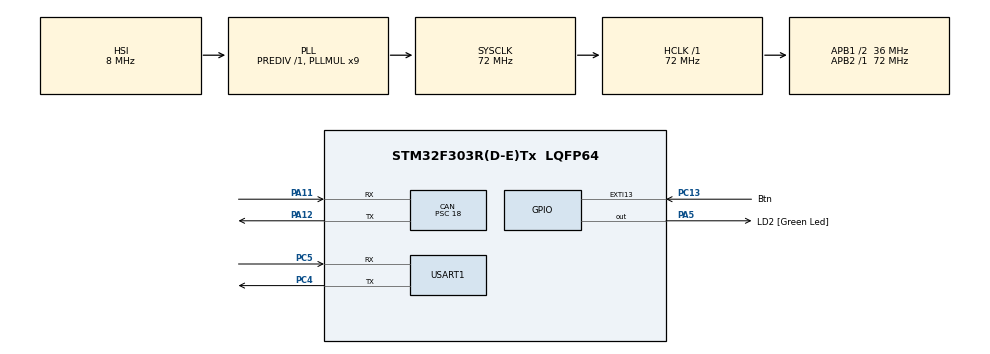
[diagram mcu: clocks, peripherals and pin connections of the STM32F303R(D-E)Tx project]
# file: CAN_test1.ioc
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CAN.BS1=CAN_BS1_2TQ
CAN.CalculateBaudRate=500000
CAN.CalculateTimeBit=2000
CAN.CalculateTimeQuantum=500.0
CAN.Mode=CAN_MODE_NORMAL
CAN.Prescaler=18
Mcu.Family=STM32F3
Mcu.Name=STM32F303R(D-E)Tx
Mcu.Package=LQFP64
NVIC.CAN_RX1_IRQn=true\:0\:0\:false\:false\:true\:true\:true
NVIC.EXTI15_10_IRQn=true\:0\:0\:false\:false\:true\:true\:true
NVIC.PriorityGroup=NVIC_PRIORITYGROUP_0
NVIC.USB_LP_CAN_RX0_IRQn=true\:0\:0\:false\:false\:true\:true\:true
PA11.Mode=CAN_Activate
PA11.Signal=CAN_RX
PA12.Mode=CAN_Activate
PA12.Signal=CAN_TX
PA13.GPIO_Label=TMS
PA13.Mode=Serial_Wire
PA13.Signal=SYS_JTMS-SWDIO
PA14.GPIO_Label=TCK
PA14.Mode=Serial_Wire
PA14.Signal=SYS_JTCK-SWCLK
PA2.GPIO_Label=USART_TX
PA2.GPIO_Mode=GPIO_MODE_AF_PP
PA2.GPIO_PuPd=GPIO_NOPULL
PA2.GPIO_Speed=GPIO_SPEED_FREQ_LOW
PA2.Signal=USART2_TX
PA3.GPIO_Label=USART_RX
PA3.GPIO_Mode=GPIO_MODE_AF_PP
PA3.GPIO_PuPd=GPIO_NOPULL
PA3.GPIO_Speed=GPIO_SPEED_FREQ_LOW
PA3.Signal=USART2_RX
PA5.GPIO_Label=LD2 [Green Led]
PA5.GPIO_Mode=GPIO_MODE_OUTPUT_PP
PA5.GPIO_PuPd=GPIO_NOPULL
PA5.GPIO_Speed=GPIO_SPEED_FREQ_LOW
PA5.Signal=GPIO_Output
PB3.GPIO_Label=SWO
PB3.Signal=SYS_JTDO-TRACESWO
PC13.GPIO_Label=Btn
PC13.GPIO_ModeDefaultEXTI=GPIO_MODE_IT_FALLING
PC13.Signal=GPXTI13
PC14-OSC32_IN.Mode=LSE-External-Oscillator
PC14-OSC32_IN.Signal=RCC_OSC32_IN
PC15-OSC32_OUT.Mode=LSE-External-Oscillator
PC15-OSC32_OUT.Signal=RCC_OSC32_OUT
PC4.Mode=Asynchronous
PC4.Signal=USART1_TX
PC5.Mode=Asynchronous
PC5.Signal=USART1_RX
PF0-OSC_IN.Mode=HSE-External-Clock-Source
PF0-OSC_IN.Signal=RCC_OSC_IN
PF1-OSC_OUT.Signal=RCC_OSC_OUT
ProjectManager.HeapSize=0x200
ProjectManager.StackSize=0x400
ProjectManager.TargetToolchain=STM32CubeIDE
RCC.AHBFreq_Value=72000000
RCC.APB1CLKDivider=RCC_HCLK_DIV2
RCC.APB1Freq_Value=36000000
RCC.APB1TimFreq_Value=72000000
RCC.APB2Freq_Value=72000000
RCC.APB2TimFreq_Value=72000000
RCC.CortexFreq_Value=72000000
RCC.HCLKFreq_Value=72000000
RCC.HSE_VALUE=8000000
RCC.HSI_VALUE=8000000
RCC.PLLM=8
RCC.PLLMUL=RCC_PLL_MUL9
RCC.PLLN=336
RCC.PLLP=RCC_PLLP_DIV4
RCC.PLLQ=7
RCC.RCC_PLLsource_Clock_Source_FROM_HSE=RCC_HSE_PREDIV_DIV2
RCC.SYSCLKFreq_VALUE=72000000
RCC.SYSCLKSourceVirtual=RCC_SYSCLKSOURCE_PLLCLK
RCC.USBFreq_Value=72000000
USART1.VirtualMode-Asynchronous=VM_ASYNC
board=NUCLEO-F303RE

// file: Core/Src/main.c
/* USER CODE BEGIN Header */
/**
  ******************************************************************************
  * @file           : main.c
  * @brief          : Main program body
  ******************************************************************************
  * @attention
  *
  * Copyright (c) 2022 STMicroelectronics.
  * All rights reserved.
  *
  * This software is licensed under terms that can be found in the LICENSE file
  * in the root directory of this software component.
  * If no LICENSE file comes with this software, it is provided AS-IS.
  *
  ******************************************************************************
  */
/* USER CODE END Header */
#include "main.h"
#include "can.h"
#include "usart.h"
#include "gpio.h"

/* USER CODE BEGIN PTD */

typedef enum
{
	WAKEUP,
	START,
	LOCK,
	REQUEST
} StateMessage;

/* USER CODE END PTD */

void SystemClock_Config(void);

/* USER CODE BEGIN PFP */

void SendControlMessage(StateMessage state);

/* USER CODE END PFP */

/* USER CODE BEGIN 0 */
CAN_TxHeaderTypeDef TxHeader;
CAN_RxHeaderTypeDef RxHeader;

uint8_t TxData[8];
uint8_t RxData[8];

uint32_t TxMailbox[4];

uint8_t count = 0;

char rcvData[1024];

void HAL_CAN_RxFifo0MsgPendingCallback(CAN_HandleTypeDef *hcan)
{
	HAL_CAN_GetRxMessage(hcan, CAN_RX_FIFO0, &RxHeader, RxData);

    strcat(rcvData, RxData);

	HAL_GPIO_TogglePin(LD2_GPIO_Port, LD2_Pin);
}

/* USER CODE END 0 */

int main(void)
{

  /* MCU Configuration--------------------------------------------------------*/

  /* Reset of all peripherals, Initializes the Flash interface and the Systick. */
  HAL_Init();

  /* Configure the system clock */
  SystemClock_Config();

  /* Initialize all configured peripherals */
  MX_GPIO_Init();
  MX_CAN_Init();
  MX_USART1_UART_Init();
  /* USER CODE BEGIN 2 */

  HAL_CAN_Start(&hcan);

  //Activate notification
  HAL_CAN_ActivateNotification(&hcan, CAN_IT_RX_FIFO0_MSG_PENDING);

  /* USER CODE END 2 */

  /* Infinite loop */
  while (1)
  {

  }
}

void SystemClock_Config(void)
{
  RCC_OscInitTypeDef RCC_OscInitStruct = {0};
  RCC_ClkInitTypeDef RCC_ClkInitStruct = {0};
  RCC_PeriphCLKInitTypeDef PeriphClkInit = {0};

  /** Initializes the RCC Oscillators according to the specified parameters
  * in the RCC_OscInitTypeDef structure.
  */
  RCC_OscInitStruct.OscillatorType = RCC_OSCILLATORTYPE_HSI;
  RCC_OscInitStruct.HSIState = RCC_HSI_ON;
  RCC_OscInitStruct.HSICalibrationValue = RCC_HSICALIBRATION_DEFAULT;
  RCC_OscInitStruct.PLL.PLLState = RCC_PLL_ON;
  RCC_OscInitStruct.PLL.PLLSource = RCC_PLLSOURCE_HSI;
  RCC_OscInitStruct.PLL.PLLMUL = RCC_PLL_MUL9;
  RCC_OscInitStruct.PLL.PREDIV = RCC_PREDIV_DIV1;
  if (HAL_RCC_OscConfig(&RCC_OscInitStruct) != HAL_OK)
  {
    Error_Handler();
  }
  /** Initializes the CPU, AHB and APB buses clocks
  */
  RCC_ClkInitStruct.ClockType = RCC_CLOCKTYPE_HCLK|RCC_CLOCKTYPE_SYSCLK
                              |RCC_CLOCKTYPE_PCLK1|RCC_CLOCKTYPE_PCLK2;
  RCC_ClkInitStruct.SYSCLKSource = RCC_SYSCLKSOURCE_PLLCLK;
  RCC_ClkInitStruct.AHBCLKDivider = RCC_SYSCLK_DIV1;
  RCC_ClkInitStruct.APB1CLKDivider = RCC_HCLK_DIV2;
  RCC_ClkInitStruct.APB2CLKDivider = RCC_HCLK_DIV1;

  if (HAL_RCC_ClockConfig(&RCC_ClkInitStruct, FLASH_LATENCY_2) != HAL_OK)
  {
    Error_Handler();
  }
  PeriphClkInit.PeriphClockSelection = RCC_PERIPHCLK_USART1;
  PeriphClkInit.Usart1ClockSelection = RCC_USART1CLKSOURCE_PCLK2;
  if (HAL_RCCEx_PeriphCLKConfig(&PeriphClkInit) != HAL_OK)
  {
    Error_Handler();
  }
}

/* USER CODE BEGIN 4 */
void SendControlMessage(StateMessage state)
{
	TxHeader.DLC = 2; // Data length in bits
	TxHeader.ExtId = 0;
	TxHeader.IDE = CAN_ID_STD;
	TxHeader.RTR = CAN_RTR_DATA;
	TxHeader.StdId = 0x103; // Arbitration_ID
	TxHeader.TransmitGlobalTime = DISABLE;

	if (state == REQUEST)
	{
		TxData[0] = 0x02;
	}
	else
	{
		TxData[0] = 0x01;

		switch(state)
		{
		case WAKEUP:
			TxData[1] = 0x01;
			break;
		case START:
			TxData[1] = 0x02;
			break;
		case LOCK:
			TxData[1] = 0x03;
			break;
		default:
			TxData[1] = 0x00;
		}
	}

	if (HAL_CAN_AddTxMessage(&hcan, &TxHeader, TxData, &TxMailbox[0]) != HAL_OK)
	{
		Error_Handler();
	}
}

void HAL_GPIO_EXTI_Callback(uint16_t GPIO_Pin)
{
	if (GPIO_Pin == Btn_Pin)
	{
		SendControlMessage(WAKEUP);
	}
}

/* USER CODE END 4 */

void Error_Handler(void)
{
  __disable_irq();
  while (1)
  {
  }
}
